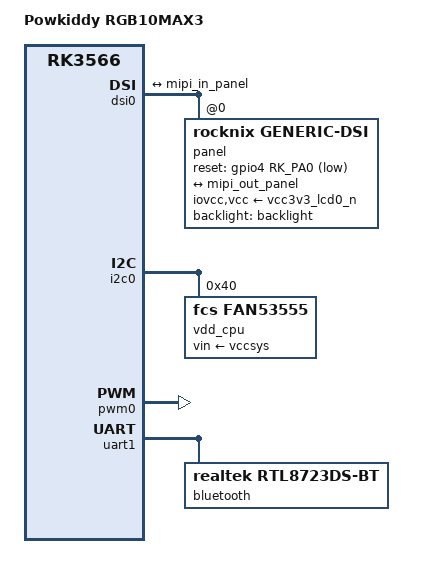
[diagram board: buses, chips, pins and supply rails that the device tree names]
// SPDX-License-Identifier: (GPL-2.0+ OR MIT)

#include "rk3566-powkiddy-rk2023.dts"

/ {
	model = "Powkiddy RGB10MAX3";
	compatible = "powkiddy,rgb10max3", "rockchip,rk3566";
};

&cru {
	assigned-clocks = <&pmucru CLK_RTC_32K>, <&cru PLL_GPLL>,
			  <&pmucru PLL_PPLL>, <&cru PLL_VPLL>;
	assigned-clock-rates = <32768>, <1200000000>,
			       <200000000>, <126400000>;
};

&dsi0 {
	/delete-node/ panel@0;

	panel: panel@0 {
		compatible = "rocknix,generic-dsi";
		reg = <0>;
		backlight = <&backlight>;
		iovcc-supply = <&vcc3v3_lcd0_n>;
		pinctrl-0 = <&lcd0_rst_gpio>;
		pinctrl-names = "default";
		reset-gpios = <&gpio4 RK_PA0 GPIO_ACTIVE_LOW>;
		rotation = <270>;
		vcc-supply = <&vcc3v3_lcd0_n>;
		panel_description =
			"G size=62,109 delays=20,20,20,120,20 format=rgb888 lanes=4 flags=0xa03",

			"M clock=63800 horizontal=720,40,10,40 vertical=1280,16,4,14 default=1",

			"I seq=b9f11283",
			"I seq=b1000000da80",
			"I seq=b2c80230",
			"I seq=b31010282803ff00000000",
			"I seq=b480",
			"I seq=b50404",
			"I seq=b67878",
			"I seq=b82522f063",
			"I seq=ba338105f90e0e2000000000000000442500900a0000014f01000037",
			"I seq=bc47",
			"I seq=bf021100",
			"I seq=c0737350500000127000",
			"I seq=c12500323277e1ffffcccc7777",
			"I seq=c68200bfff00ff",
			"I seq=c7b8000a000000",
			"I seq=c810401e02",
			"I seq=cc0b",
			"I seq=e00004072a393f3631060b0e121412130f170004072a393f3631060b0e121412130f17",
			"I seq=e303030303000300000000ff80c010",
			"I seq=e9c81008000041f8123123378611c8372a00000c00000000000c00000088204602888888888888ff88315713888888888888ff00000000000000000000000000",
			"I seq=ea001a000000000000000000008f133175888888888888f88f022064888888888888f80000000000000000000000000000000000000000000000000000",
			"I seq=efffff01",
			"I seq=11 wait=120",
			"I seq=29 wait=20";

		ports {
			#address-cells = <1>;
			#size-cells = <0>;

			port@0 {
				reg = <0>;
				mipi_in_panel: endpoint {
					remote-endpoint = <&mipi_out_panel>;
				};
			};
		};
	};

	ports {
		#address-cells = <1>;
		#size-cells = <0>;

		port@1 {
			reg = <1>;
			mipi_out_panel: endpoint {
				remote-endpoint = <&mipi_in_panel>;
			};
		};
	};
};

&i2c0 {
	/delete-node/ regulator@1c;

	vdd_cpu: regulator@40 {
		compatible = "fcs,fan53555";
		reg = <0x40>;
		fcs,suspend-voltage-selector = <1>;
		regulator-always-on;
		regulator-boot-on;
		regulator-min-microvolt = <712500>;
		regulator-max-microvolt = <1390000>;
		regulator-name = "vdd_cpu";
		regulator-ramp-delay = <2300>;
		vin-supply = <&vccsys>;
		regulator-state-mem {
			regulator-off-in-suspend;
		};
	};
};

&pwm0 {
	pinctrl-0 = <&pwm0m1_pins>;
	pinctrl-names = "default";
	status = "okay";
};

&uart1 {
	bluetooth {
		compatible = "realtek,rtl8723ds-bt", "realtek,rtl8723bs-bt";
	};
};

&joypad {
	sw12 {
		gpios = <&gpio3 RK_PB2 GPIO_ACTIVE_LOW>;
		label = "GPIO BTN_TL";
		linux,code = <BTN_TL>;
	};
	sw13 {
		gpios = <&gpio3 RK_PB4 GPIO_ACTIVE_LOW>;
		label = "GPIO BTN_TR";
		linux,code = <BTN_TR>;
	};
	sw14 {
		gpios = <&gpio3 RK_PB1 GPIO_ACTIVE_LOW>;
		label = "GPIO BTN_TL2";
		linux,code = <BTN_TL2>;
	};
	sw15 {
		gpios = <&gpio3 RK_PB3 GPIO_ACTIVE_LOW>;
		label = "GPIO BTN_TR2";
		linux,code = <BTN_TR2>;
	};
};
